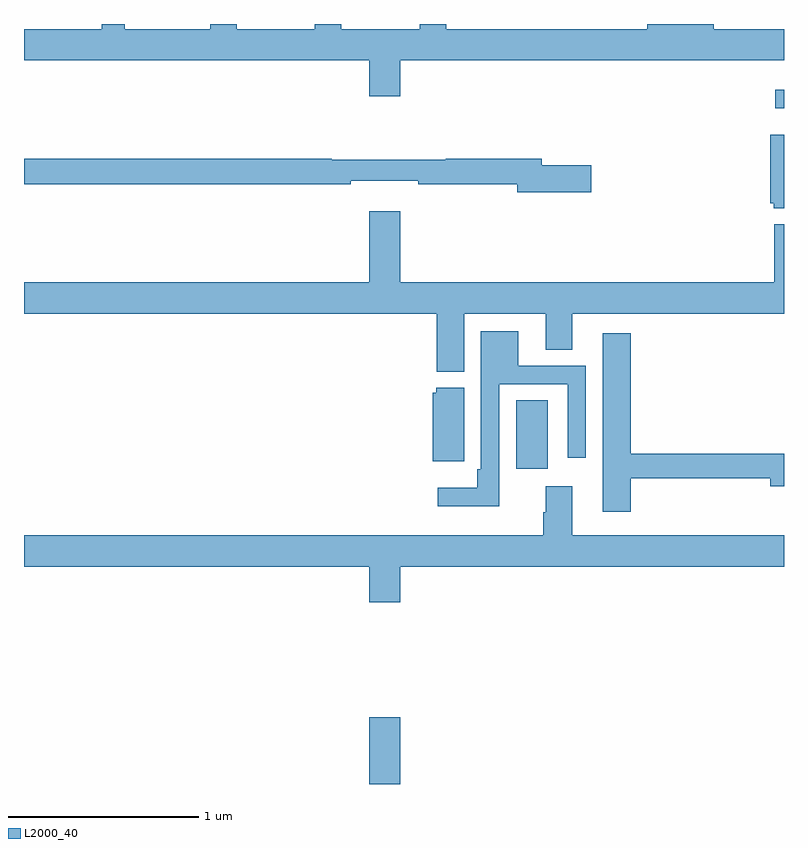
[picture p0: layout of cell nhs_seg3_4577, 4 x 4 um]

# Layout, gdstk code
import gdstk
lib = gdstk.Library(unit=1e-6, precision=1e-09)
def R(c, l, rs):  # rectangles x0, y0, x1, y1
    for r in rs: c.add(gdstk.rectangle(r[:2], r[2:], *l))
def P(c, l, *ps):  # polygons
    for p in ps: c.add(gdstk.Polygon(p, *l))
L2000_40 = (2000, 40)

nhs_seg3_4577 = lib.new_cell('nhs_seg3_4577')
R(nhs_seg3_4577, L2000_40, [(356.816,738.4,356.98,738.751), (357.59,740.058,357.757,740.42), (358.953,741.956,359,742.054)])
P(nhs_seg3_4577, L2000_40, [(356.98,742.208),(359,742.208),(359,742.372),(358.63,742.372),(358.63,742.4),(358.28,742.4),(358.28,742.372),(357.223,742.372),(357.223,742.4),(357.083,742.4),(357.083,742.372),(356.671,742.372),(356.671,742.4),(356.531,742.4),(356.531,742.372),(356.119,742.372),(356.119,742.4),(355.98,742.4),(355.98,742.372),(355.531,742.372),(355.531,742.4),(355.41,742.4),(355.41,742.372),(355,742.372),(355,742.208),(356.816,742.208),(356.816,742.02),(356.98,742.02)],
  [(359,741.817),(358.928,741.817),(358.928,741.456),(358.947,741.456),(358.947,741.431),(359,741.431)],
  [(357.985,741.656),(357.724,741.656),(357.724,741.692),(357.22,741.692),(357.22,741.685),(356.62,741.685),(356.62,741.692),(355,741.692),(355,741.556),(356.72,741.556),(356.72,741.575),(357.076,741.575),(357.076,741.556),(357.596,741.556),(357.596,741.514),(357.985,741.514)],
  [(357.316,740.876),(357.746,740.876),(357.746,740.686),(357.886,740.686),(357.886,740.876),(359,740.876),(359,741.346),(358.949,741.346),(358.949,741.04),(356.98,741.04),(356.98,741.415),(356.816,741.415),(356.816,741.04),(355,741.04),(355,740.876),(357.173,740.876),(357.173,740.57),(357.316,740.57)],
  [(357.501,740.505),(357.861,740.505),(357.861,740.118),(357.957,740.118),(357.957,740.601),(357.601,740.601),(357.601,740.782),(357.405,740.782),(357.405,740.056),(357.385,740.056),(357.385,739.96),(357.177,739.96),(357.177,739.862),(357.501,739.862)],
  [(358.193,740.01),(358.928,740.01),(358.928,739.967),(359,739.967),(359,740.138),(358.193,740.138),(358.193,740.773),(358.046,740.773),(358.046,739.833),(358.193,739.833)],
  [(357.316,740.485),(357.171,740.485),(357.171,740.46),(357.152,740.46),(357.152,740.099),(357.316,740.099)],
  [(356.98,739.544),(359,739.544),(359,739.708),(357.886,739.708),(357.886,739.966),(357.746,739.966),(357.746,739.829),(357.734,739.829),(357.734,739.708),(355,739.708),(355,739.544),(356.816,739.544),(356.816,739.356),(356.98,739.356)])

lib.write_gds('nhs_seg3_4577.gds')
